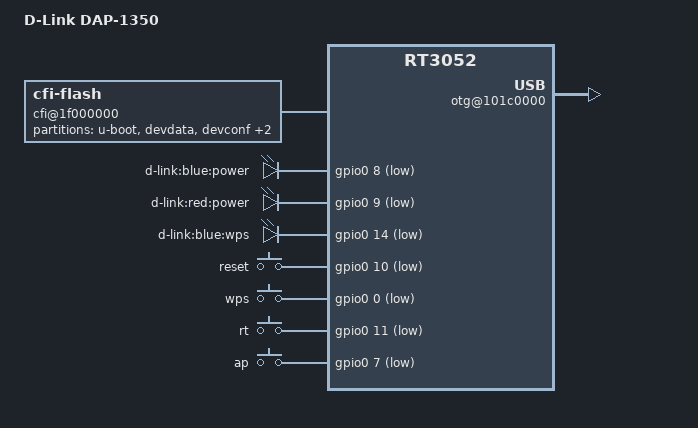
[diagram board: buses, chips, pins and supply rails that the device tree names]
/dts-v1/;

/include/ "rt3050.dtsi"

/ {
	compatible = "DAP-1350", "ralink,rt3052-soc";
	model = "D-Link DAP-1350";

	chosen {
		bootargs = "console=ttyS0,115200";
	};

	pinctrl {
		state_default: pinctrl0 {
			gpio {
				ralink,group = "spi", "i2c", "jtag", "rgmii", "mdio", "uartf";
				ralink,function = "gpio";
			};
		};
	};

	cfi@1f000000 {
		compatible = "cfi-flash";
		reg = <0x1f000000 0x800000>;

		bank-width = <2>;
		device-width = <2>;
		#address-cells = <1>;
		#size-cells = <1>;

		partition@0 {
			label = "u-boot";
			reg = <0x0 0x30000>;
			read-only;
		};

		partition@30000 {
			label = "devdata";
			reg = <0x30000 0x10000>;
			read-only;
		};

		partition@40000 {
			label = "devconf";
			reg = <0x40000 0x30000>;
			read-only;
		};

		partition@70000 {
			label = "devlang";
			reg = <0x70000 0x40000>;
			read-only;
		};

		partition@b0000 {
			label = "firmware";
			reg = <0xb0000 0x750000>;
		};
	};

	esw@10110000 {
		ralink,portmap = <0x2f>;
	};

	gpio-leds {
		compatible = "gpio-leds";
		power {
			label = "d-link:blue:power";
			gpios = <&gpio0 8 1>;
		};
		power2 {
			label = "d-link:red:power";
			gpios = <&gpio0 9 1>;
		};
		wps {
			label = "d-link:blue:wps";
			gpios = <&gpio0 14 1>;
		};
	};

	gpio-keys-polled {
		compatible = "gpio-keys-polled";
		#address-cells = <1>;
		#size-cells = <0>;
		poll-interval = <20>;
		reset {
			label = "reset";
			gpios = <&gpio0 10 1>;
			linux,code = <0x198>;
		};
		wps {
			label = "wps";
			gpios = <&gpio0 0 1>;
			linux,code = <0x211>;
		};
		rt {
			label = "rt";
			gpios = <&gpio0 11 1>;
			linux,code = <0x100>;
		};
		ap {
			label = "ap";
			gpios = <&gpio0 7 1>;
			linux,code = <0x101>;
		};
	};

	otg@101c0000 {
		status = "okay";
	};
};
